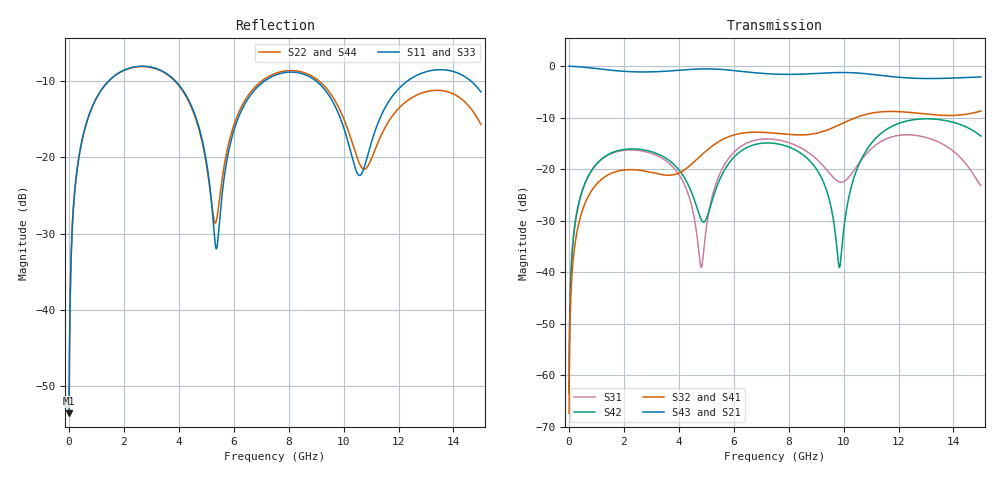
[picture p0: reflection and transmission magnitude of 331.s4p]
! Created with skrf 1.8.0 (http://scikit-rf.org).
# GHz S RI R 50.0
!freq ReS11 ImS11 ReS12 ImS12 ReS13 ImS13
! ReS14 ImS14
! ReS21 ImS21 ReS22 ImS22 ReS23 ImS23
! ReS24 ImS24
! ReS31 ImS31 ReS32 ImS32 ReS33 ImS33
! ReS34 ImS34
! ReS41 ImS41 ReS42 ImS42 ReS43 ImS43
! ReS44 ImS44
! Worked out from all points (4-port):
!   2499 points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, 5 MHz to 15 GHz, reference 50 ohm
!   strongest paths, dB at 5 MHz, 3.476 GHz, 7.19 GHz, 11.1 GHz, 15 GHz:
!     S43: 0.0, -1.0, -1.5, -1.7, -2.1
!     S21: 0.0, -1.0, -1.5, -1.7, -2.1
!     S32: -67.4, -21.1, -12.9, -9.1, -8.7
!     S41: -67.4, -21.2, -12.9, -9.1, -8.8
!     S42: -63.4, -17.7, -14.9, -14.4, -13.6
!     S31: -63.4, -18.2, -14.1, -15.6, -23.2
!   lowest |S11| = -53.5 dB at 5 MHz (marker M1), VSWR 1.00, Z = 50.2 + j0.128 ohm
!   |S11| at or under -10 dB: start of sweep to 1.448 GHz; 3.875 GHz to 7.128 GHz (3.253 GHz wide, 59.1 % of centre); 8.995 GHz to 12.33 GHz (3.335 GHz wide, 31.3 % of centre)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
0.005  0.00168 0.00128  0.9983 -0.00327  8.45e-05 0.000667  -8.21e-05 -0.000418
       0.9983 -0.00327  0.00168 0.00128  -8.21e-05 -0.000418  8.46e-05 0.000667
       8.45e-05 0.000667  -8.21e-05 -0.000418  0.00168 0.00128  0.9983 -0.00327
       -8.21e-05 -0.000418  8.46e-05 0.000667  0.9983 -0.00327  0.00168 0.00128
0.3126303  0.0251 0.0838  0.9658 -0.2033  0.0113 0.0395  -0.0096 -0.0244
           0.9658 -0.2033  0.025 0.0838  -0.0096 -0.0244  0.0118 0.0394
           0.0113 0.0395  -0.0096 -0.0244  0.0251 0.0838  0.9658 -0.2033
           -0.0096 -0.0244  0.0118 0.0394  0.9658 -0.2033  0.025 0.0838
1.569404  0.2824 0.1734  0.5249 -0.7435  0.1284 0.0619  -0.0916 -0.00232
          0.5249 -0.7435  0.2804 0.1749  -0.0917 -0.0022  0.1341 0.0537
          0.1284 0.0619  -0.0917 -0.0022  0.2823 0.1735  0.525 -0.7435
          -0.0916 -0.00232  0.1341 0.0537  0.525 -0.7435  0.2804 0.1748
5.195915  0.0269 -0.0416  -0.9271 -0.1455  0.0159 0.0493  -0.0239 0.1643
          -0.9271 -0.1455  0.0383 -0.0321  -0.0219 0.1646  -0.0261 0.0402
          0.0159 0.0493  -0.0219 0.1646  0.0273 -0.0399  -0.9272 -0.1453
          -0.0239 0.1643  -0.0261 0.0402  -0.9272 -0.1453  0.0372 -0.0305
8.284702  0.3576 -0.0329  0.00542 0.833  0.1354 -0.1009  0.2049 -0.0607
          0.00542 0.833  0.3654 -0.0403  0.2047 -0.065  0.1351 -0.0682
          0.1354 -0.1009  0.2047 -0.065  0.3576 -0.0326  0.00415 0.8328
          0.2049 -0.0607  0.1351 -0.0682  0.00415 0.8328  0.3667 -0.0393
9.847853  0.1377 -0.1263  0.6786 0.5385  -0.064 -0.0396  0.1652 -0.2127
          0.6786 0.5385  0.15 -0.1428  0.1602 -0.2165  -0.0108 -0.00235
          -0.064 -0.0396  0.1602 -0.2165  0.1381 -0.1262  0.6773 0.5403
          0.1652 -0.2127  -0.0108 -0.00235  0.6773 0.5403  0.1509 -0.142
15  0.1856 -0.1936  -0.4789 -0.6203  0.0687 0.00697  -0.28 0.2344
    -0.4789 -0.6203  0.1511 -0.0642  -0.2716 0.2457  -0.0452 -0.2043
    0.0687 0.00697  -0.2716 0.2457  0.1814 -0.1903  -0.4752 -0.6246
    -0.28 0.2344  -0.0452 -0.2043  -0.4752 -0.6246  0.1481 -0.0631
